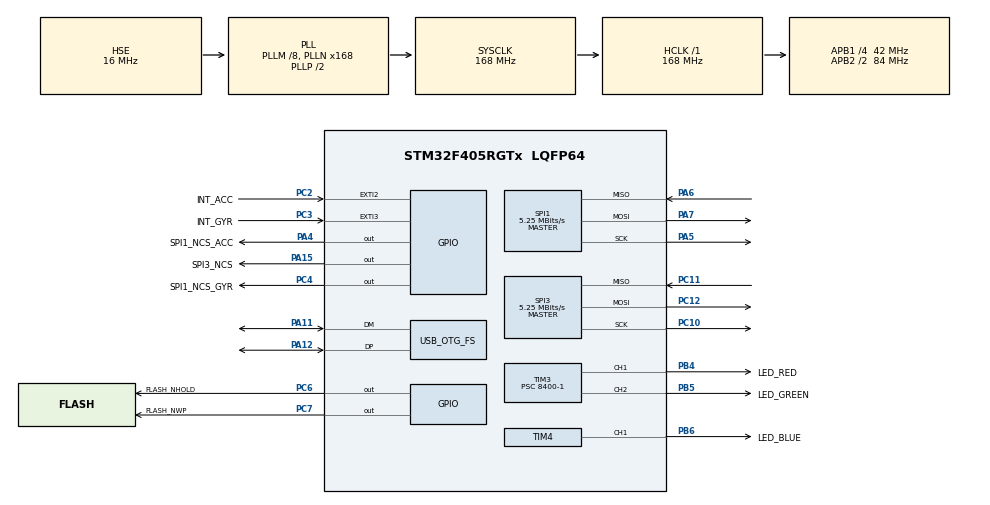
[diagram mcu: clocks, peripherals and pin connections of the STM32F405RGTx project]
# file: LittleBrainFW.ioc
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Dma.Request0=SPI1_RX
Dma.Request1=SPI1_TX
Dma.Request2=SPI3_RX
Dma.Request3=SPI3_TX
Dma.SPI1_RX.0.Direction=DMA_PERIPH_TO_MEMORY
Dma.SPI1_RX.0.FIFOMode=DMA_FIFOMODE_DISABLE
Dma.SPI1_RX.0.Instance=DMA2_Stream0
Dma.SPI1_RX.0.MemDataAlignment=DMA_MDATAALIGN_BYTE
Dma.SPI1_RX.0.MemInc=DMA_MINC_ENABLE
Dma.SPI1_RX.0.Mode=DMA_NORMAL
Dma.SPI1_RX.0.PeriphDataAlignment=DMA_PDATAALIGN_BYTE
Dma.SPI1_RX.0.PeriphInc=DMA_PINC_DISABLE
Dma.SPI1_RX.0.Priority=DMA_PRIORITY_HIGH
Dma.SPI1_TX.1.Direction=DMA_MEMORY_TO_PERIPH
Dma.SPI1_TX.1.FIFOMode=DMA_FIFOMODE_DISABLE
Dma.SPI1_TX.1.Instance=DMA2_Stream3
Dma.SPI1_TX.1.MemDataAlignment=DMA_MDATAALIGN_BYTE
Dma.SPI1_TX.1.MemInc=DMA_MINC_ENABLE
Dma.SPI1_TX.1.Mode=DMA_NORMAL
Dma.SPI1_TX.1.PeriphDataAlignment=DMA_PDATAALIGN_BYTE
Dma.SPI1_TX.1.PeriphInc=DMA_PINC_DISABLE
Dma.SPI1_TX.1.Priority=DMA_PRIORITY_HIGH
Dma.SPI3_RX.2.Direction=DMA_PERIPH_TO_MEMORY
Dma.SPI3_RX.2.FIFOMode=DMA_FIFOMODE_DISABLE
Dma.SPI3_RX.2.Instance=DMA1_Stream0
Dma.SPI3_RX.2.MemDataAlignment=DMA_MDATAALIGN_BYTE
Dma.SPI3_RX.2.MemInc=DMA_MINC_ENABLE
Dma.SPI3_RX.2.Mode=DMA_NORMAL
Dma.SPI3_RX.2.PeriphDataAlignment=DMA_PDATAALIGN_BYTE
Dma.SPI3_RX.2.PeriphInc=DMA_PINC_DISABLE
Dma.SPI3_RX.2.Priority=DMA_PRIORITY_MEDIUM
Dma.SPI3_TX.3.Direction=DMA_MEMORY_TO_PERIPH
Dma.SPI3_TX.3.FIFOMode=DMA_FIFOMODE_DISABLE
Dma.SPI3_TX.3.Instance=DMA1_Stream5
Dma.SPI3_TX.3.MemDataAlignment=DMA_MDATAALIGN_BYTE
Dma.SPI3_TX.3.MemInc=DMA_MINC_ENABLE
Dma.SPI3_TX.3.Mode=DMA_NORMAL
Dma.SPI3_TX.3.PeriphDataAlignment=DMA_PDATAALIGN_BYTE
Dma.SPI3_TX.3.PeriphInc=DMA_PINC_DISABLE
Dma.SPI3_TX.3.Priority=DMA_PRIORITY_MEDIUM
Mcu.Family=STM32F4
Mcu.Name=STM32F405RGTx
Mcu.Package=LQFP64
NVIC.DMA1_Stream0_IRQn=true\:0\:0\:false\:false\:true\:false\:true
NVIC.DMA1_Stream5_IRQn=true\:0\:0\:false\:false\:true\:false\:true
NVIC.DMA2_Stream0_IRQn=true\:0\:0\:false\:false\:true\:false\:true
NVIC.DMA2_Stream3_IRQn=true\:0\:0\:false\:false\:true\:false\:true
NVIC.EXTI2_IRQn=true\:0\:0\:false\:false\:true\:true\:true
NVIC.EXTI3_IRQn=true\:0\:0\:false\:false\:true\:true\:true
NVIC.OTG_FS_IRQn=true\:0\:0\:false\:false\:true\:false\:true
NVIC.PriorityGroup=NVIC_PRIORITYGROUP_4
NVIC.SPI1_IRQn=true\:0\:0\:false\:false\:true\:true\:true
PA11.Mode=Device_Only
PA11.Signal=USB_OTG_FS_DM
PA12.Mode=Device_Only
PA12.Signal=USB_OTG_FS_DP
PA13.Mode=Trace_Asynchronous_SW
PA13.Signal=SYS_JTMS-SWDIO
PA14.Mode=Trace_Asynchronous_SW
PA14.Signal=SYS_JTCK-SWCLK
PA15.GPIO_Label=SPI3_NCS
PA15.Signal=GPIO_Output
PA4.GPIO_Label=SPI1_NCS_ACC
PA4.Signal=GPIO_Output
PA5.Mode=Full_Duplex_Master
PA5.Signal=SPI1_SCK
PA6.Mode=Full_Duplex_Master
PA6.Signal=SPI1_MISO
PA7.Mode=Full_Duplex_Master
PA7.Signal=SPI1_MOSI
PB3.Mode=Trace_Asynchronous_SW
PB3.Signal=SYS_JTDO-SWO
PB4.GPIO_Label=LED_RED
PB4.Signal=S_TIM3_CH1
PB5.GPIO_Label=LED_GREEN
PB5.Signal=S_TIM3_CH2
PB6.GPIO_Label=LED_BLUE
PB6.Signal=S_TIM4_CH1
PC10.Mode=Full_Duplex_Master
PC10.Signal=SPI3_SCK
PC11.Mode=Full_Duplex_Master
PC11.Signal=SPI3_MISO
PC12.Mode=Full_Duplex_Master
PC12.Signal=SPI3_MOSI
PC2.GPIO_Label=INT_ACC
PC2.Signal=GPXTI2
PC3.GPIO_Label=INT_GYR
PC3.Signal=GPXTI3
PC4.GPIO_Label=SPI1_NCS_GYR
PC4.Signal=GPIO_Output
PC6.GPIO_Label=FLASH_NHOLD
PC6.Signal=GPIO_Output
PC7.GPIO_Label=FLASH_NWP
PC7.Signal=GPIO_Output
PH0-OSC_IN.Mode=HSE-External-Oscillator
PH0-OSC_IN.Signal=RCC_OSC_IN
PH1-OSC_OUT.Mode=HSE-External-Oscillator
PH1-OSC_OUT.Signal=RCC_OSC_OUT
ProjectManager.HeapSize=0x200
ProjectManager.StackSize=0x400
ProjectManager.TargetToolchain=STM32CubeIDE
RCC.48MHZClocksFreq_Value=48000000
RCC.AHBFreq_Value=168000000
RCC.APB1CLKDivider=RCC_HCLK_DIV4
RCC.APB1Freq_Value=42000000
RCC.APB1TimFreq_Value=84000000
RCC.APB2CLKDivider=RCC_HCLK_DIV2
RCC.APB2Freq_Value=84000000
RCC.APB2TimFreq_Value=168000000
RCC.CortexFreq_Value=168000000
RCC.HCLKFreq_Value=168000000
RCC.HSE_VALUE=16000000
RCC.HSI_VALUE=16000000
RCC.LSE_VALUE=32768
RCC.PLLM=8
RCC.PLLN=168
RCC.PLLQ=7
RCC.SYSCLKFreq_VALUE=168000000
RCC.SYSCLKSource=RCC_SYSCLKSOURCE_PLLCLK
RCC.VCOOutputFreq_Value=336000000
SH.S_TIM3_CH1.0=TIM3_CH1,PWM Generation1 CH1
SH.S_TIM3_CH2.0=TIM3_CH2,PWM Generation2 CH2
SH.S_TIM4_CH1.0=TIM4_CH1,PWM Generation1 CH1
SPI1.BaudRatePrescaler=SPI_BAUDRATEPRESCALER_16
SPI1.CalculateBaudRate=5.25 MBits/s
SPI1.Direction=SPI_DIRECTION_2LINES
SPI1.Mode=SPI_MODE_MASTER
SPI1.VirtualType=VM_MASTER
SPI3.BaudRatePrescaler=SPI_BAUDRATEPRESCALER_8
SPI3.CalculateBaudRate=5.25 MBits/s
SPI3.Direction=SPI_DIRECTION_2LINES
SPI3.Mode=SPI_MODE_MASTER
SPI3.VirtualType=VM_MASTER
TIM3.Channel-PWM\ Generation1\ CH1=TIM_CHANNEL_1
TIM3.Channel-PWM\ Generation2\ CH2=TIM_CHANNEL_2
TIM3.Period=100-1
TIM3.Prescaler=8400-1
TIM3.TIM_MasterOutputTrigger=TIM_TRGO_RESET
TIM4.Channel-PWM\ Generation1\ CH1=TIM_CHANNEL_1
TIM4.Period=100-1
TIM4.Prescaler=8400-1
USB_DEVICE.CLASS_NAME_FS=CDC
USB_DEVICE.VirtualMode-CDC_FS=Cdc
USB_DEVICE.VirtualModeFS=Cdc_FS
USB_OTG_FS.VirtualMode=Device_Only
VP_TIM3_VS_ClockSourceINT.Mode=Internal
VP_TIM4_VS_ClockSourceINT.Mode=Internal
VP_USB_DEVICE_VS_USB_DEVICE_CDC_FS.Mode=CDC_FS
board=custom

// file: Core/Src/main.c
/* USER CODE BEGIN Header */

/*
 *
 * Little Brain PCB Firmware
 *
 * Phil's Lab - youtube.com/c/phils94
 *
 */

/* USER CODE END Header */

#include "main.h"
#include "usb_device.h"

/* USER CODE BEGIN Includes */
#include "usbd_cdc_if.h"
#include <math.h>

#include "BMI088.h"
#include "SPL06.h"

#include "FIRFilter.h"
#include "RCFilter.h"

//#include "EKF.h"
/* USER CODE END Includes */

#define SAMPLE_TIME_MS_USB  20
#define SAMPLE_TIME_MS_BAR  125
#define SAMPLE_TIME_MS_LED  250
#define SAMPLE_TIME_MS_ATT   10

#define COMP_FILT_ALPHA 0.1f
#define RAD_TO_DEG 		57.2957795131f

SPI_HandleTypeDef hspi1;
SPI_HandleTypeDef hspi3;
DMA_HandleTypeDef hdma_spi1_rx;
DMA_HandleTypeDef hdma_spi1_tx;
DMA_HandleTypeDef hdma_spi3_rx;
DMA_HandleTypeDef hdma_spi3_tx;

TIM_HandleTypeDef htim3;
TIM_HandleTypeDef htim4;

/* USER CODE BEGIN PV */
BMI088 imu;
SPL06  bar;

RCFilter lpfAcc[3];
RCFilter lpfGyr[3];

FIRFilter barFilterMovingAverage;

float rollEstimate_rad;
float pitchEstimate_rad;

//EKF ekf;
/* USER CODE END PV */

void SystemClock_Config(void);
static void MX_GPIO_Init(void);
static void MX_DMA_Init(void);
static void MX_SPI1_Init(void);
static void MX_SPI3_Init(void);
static void MX_TIM3_Init(void);
static void MX_TIM4_Init(void);

/* USER CODE BEGIN 0 */
void HAL_SPI_TxRxCpltCallback(SPI_HandleTypeDef *hspi) {

	if (hspi->Instance == SPI1) {

		if (imu.readingAcc) {

			BMI088_ReadAccelerometerDMA_Complete(&imu);

			/* Filter accelerometer data */
		//	RCFilter_Update(&lpfAcc[0], imu.acc_mps2[0]);
		//	RCFilter_Update(&lpfAcc[1], imu.acc_mps2[1]);
		//	RCFilter_Update(&lpfAcc[2], imu.acc_mps2[2]);

		}

		if (imu.readingGyr) {

			BMI088_ReadGyroscopeDMA_Complete(&imu);

			/* Filter gyroscope data */
		//	RCFilter_Update(&lpfGyr[0], imu.gyr_rps[0]);
		//	RCFilter_Update(&lpfGyr[1], imu.gyr_rps[1]);
		//	RCFilter_Update(&lpfGyr[2], imu.gyr_rps[2]);

		}

	} else if (hspi->Instance == SPI3) {

		if (bar.reading) {

			SPL06_ReadDMA_Complete(&bar);

			/* Filter barometer readings using 10-point moving average filter */
			FIRFilter_Update(&barFilterMovingAverage, bar.pressure_Pa);

		}

	}

}

void HAL_GPIO_EXTI_Callback(uint16_t GPIO_Pin) {

	if (GPIO_Pin == INT_ACC_Pin) {

		BMI088_ReadAccelerometerDMA(&imu);

	} else if (GPIO_Pin == INT_GYR_Pin) {

		BMI088_ReadGyroscopeDMA(&imu);

	}

}

void LED_RGB_Init() {

	/* Start RGB LED PWM timers */
	HAL_TIM_PWM_Start(&htim3, TIM_CHANNEL_1);
	HAL_TIM_PWM_Start(&htim3, TIM_CHANNEL_2);
	HAL_TIM_PWM_Start(&htim4, TIM_CHANNEL_1);

}

void LED_RGB_SetIntensity(uint8_t red, uint8_t green, uint8_t blue) {

	htim3.Instance->CCR1 = 100 - red;
	htim3.Instance->CCR2 = 100 - green;
	htim4.Instance->CCR1 = 100 - blue;

}
/* USER CODE END 0 */

int main(void)
{

  /* MCU Configuration--------------------------------------------------------*/

  /* Reset of all peripherals, Initializes the Flash interface and the Systick. */
  HAL_Init();

  /* Configure the system clock */
  SystemClock_Config();

  /* Initialize all configured peripherals */
  MX_GPIO_Init();
  MX_DMA_Init();
  MX_SPI1_Init();
  MX_SPI3_Init();
  MX_TIM3_Init();
  MX_TIM4_Init();
  MX_USB_DEVICE_Init();
  /* USER CODE BEGIN 2 */

  /* Initialise RGB LED */
  LED_RGB_Init();
  LED_RGB_SetIntensity(0, 0, 0);

  /* Initialise inertial measurement unit */
  BMI088_Init(&imu, &hspi1, GPIOA, SPI1_NCS_ACC_Pin, GPIOC, SPI1_NCS_GYR_Pin);

  /* Initialise barometric pressure sensor */
  SPL06_Init(&bar, &hspi3, GPIOA, SPI3_NCS_Pin);

  /* Initialise moving average filter for barometer */
  FIRFilter_Init(&barFilterMovingAverage);

  /* Initialise low-pass filters */
  for (uint8_t n = 0; n < 3; n++) {

	  RCFilter_Init(&lpfAcc[n], 5.0f, 0.01f);

	  RCFilter_Init(&lpfGyr[n], 25.0f, 0.01f);

  }

  /* Timers */
  uint32_t timerBAR = 0;
  uint32_t timerUSB = 0;
  uint32_t timerLED	= 0;
  uint32_t timerATT = 0;

  /* LED colour state */
  uint8_t ledState = 0;

  /* Roll and pitch estimates */
  rollEstimate_rad  = 0.0f;
  pitchEstimate_rad = 0.0f;

  /* USB data buffer */
  char logBuf[128];
  /* USER CODE END 2 */

  /* Infinite loop */
  /* USER CODE BEGIN WHILE */
  float rollAcc_rad  = 0.0f;
  float pitchAcc_rad = 0.0f;

  float rollGyr_rad = 0.0f;
  float pitchGyr_rad = 0.0f;

  while (1)
  {
    /* USER CODE END WHILE */

	  /* Log data via USB */
	  if ((HAL_GetTick() - timerUSB) >= SAMPLE_TIME_MS_USB) {

		  /* Print via USB */
		 // sprintf(logBuf, "%.1f,%.1f,%.1f,%.1f,%.1f,%.1f\r\n", rollEstimate_rad * RAD_TO_DEG, pitchEstimate_rad * RAD_TO_DEG,
		//		  	  	  	  	  	  	 	 	 	 rollAcc_rad * RAD_TO_DEG, pitchAcc_rad * RAD_TO_DEG,
		//											 rollGyr_rad * RAD_TO_DEG, pitchGyr_rad * RAD_TO_DEG);

		  sprintf(logBuf, "%.3f,%.3f,%.3f,%.3f,%.3f,%.3f\r\n", imu.acc_mps2[0], imu.acc_mps2[1], imu.acc_mps2[2],
				  	  	  	  	  	  	  	  	  	  	  	   imu.gyr_rps[0], imu.gyr_rps[1], imu.gyr_rps[2]);

		  CDC_Transmit_FS((uint8_t *) logBuf, strlen(logBuf));

		  timerUSB = HAL_GetTick();

	  }

	  /* Read pressure sensor */
	  if ((HAL_GetTick() - timerBAR) >= SAMPLE_TIME_MS_BAR) {

		  SPL06_ReadDMA(&bar);

		  timerBAR = HAL_GetTick();

	  }

	  /* Toggle LED */
	  if ((HAL_GetTick() - timerLED) >= SAMPLE_TIME_MS_LED) {

		  switch(ledState) {

			  case 0:
				  LED_RGB_SetIntensity(100, 0, 0);
				  break;

			  case 1:
				  LED_RGB_SetIntensity(0, 75, 0);
				  break;

			  case 2:
				  LED_RGB_SetIntensity(0, 0, 100);
				  break;

		  }

		  ledState++;

		  if (ledState > 2) {

			  ledState = 0;

		  }

		  timerLED = HAL_GetTick();

	  }

  }
}

void SystemClock_Config(void)
{
  RCC_OscInitTypeDef RCC_OscInitStruct = {0};
  RCC_ClkInitTypeDef RCC_ClkInitStruct = {0};

  /** Configure the main internal regulator output voltage
  */
  __HAL_RCC_PWR_CLK_ENABLE();
  __HAL_PWR_VOLTAGESCALING_CONFIG(PWR_REGULATOR_VOLTAGE_SCALE1);
  /** Initializes the CPU, AHB and APB busses clocks
  */
  RCC_OscInitStruct.OscillatorType = RCC_OSCILLATORTYPE_HSE;
  RCC_OscInitStruct.HSEState = RCC_HSE_ON;
  RCC_OscInitStruct.PLL.PLLState = RCC_PLL_ON;
  RCC_OscInitStruct.PLL.PLLSource = RCC_PLLSOURCE_HSE;
  RCC_OscInitStruct.PLL.PLLM = 8;
  RCC_OscInitStruct.PLL.PLLN = 168;
  RCC_OscInitStruct.PLL.PLLP = RCC_PLLP_DIV2;
  RCC_OscInitStruct.PLL.PLLQ = 7;
  if (HAL_RCC_OscConfig(&RCC_OscInitStruct) != HAL_OK)
  {
    Error_Handler();
  }
  /** Initializes the CPU, AHB and APB busses clocks
  */
  RCC_ClkInitStruct.ClockType = RCC_CLOCKTYPE_HCLK|RCC_CLOCKTYPE_SYSCLK
                              |RCC_CLOCKTYPE_PCLK1|RCC_CLOCKTYPE_PCLK2;
  RCC_ClkInitStruct.SYSCLKSource = RCC_SYSCLKSOURCE_PLLCLK;
  RCC_ClkInitStruct.AHBCLKDivider = RCC_SYSCLK_DIV1;
  RCC_ClkInitStruct.APB1CLKDivider = RCC_HCLK_DIV4;
  RCC_ClkInitStruct.APB2CLKDivider = RCC_HCLK_DIV2;

  if (HAL_RCC_ClockConfig(&RCC_ClkInitStruct, FLASH_LATENCY_5) != HAL_OK)
  {
    Error_Handler();
  }
}

static void MX_SPI1_Init(void)
{

  /* SPI1 parameter configuration*/
  hspi1.Instance = SPI1;
  hspi1.Init.Mode = SPI_MODE_MASTER;
  hspi1.Init.Direction = SPI_DIRECTION_2LINES;
  hspi1.Init.DataSize = SPI_DATASIZE_8BIT;
  hspi1.Init.CLKPolarity = SPI_POLARITY_LOW;
  hspi1.Init.CLKPhase = SPI_PHASE_1EDGE;
  hspi1.Init.NSS = SPI_NSS_SOFT;
  hspi1.Init.BaudRatePrescaler = SPI_BAUDRATEPRESCALER_16;
  hspi1.Init.FirstBit = SPI_FIRSTBIT_MSB;
  hspi1.Init.TIMode = SPI_TIMODE_DISABLE;
  hspi1.Init.CRCCalculation = SPI_CRCCALCULATION_DISABLE;
  hspi1.Init.CRCPolynomial = 10;
  if (HAL_SPI_Init(&hspi1) != HAL_OK)
  {
    Error_Handler();
  }

}

static void MX_SPI3_Init(void)
{

  /* SPI3 parameter configuration*/
  hspi3.Instance = SPI3;
  hspi3.Init.Mode = SPI_MODE_MASTER;
  hspi3.Init.Direction = SPI_DIRECTION_2LINES;
  hspi3.Init.DataSize = SPI_DATASIZE_8BIT;
  hspi3.Init.CLKPolarity = SPI_POLARITY_LOW;
  hspi3.Init.CLKPhase = SPI_PHASE_1EDGE;
  hspi3.Init.NSS = SPI_NSS_SOFT;
  hspi3.Init.BaudRatePrescaler = SPI_BAUDRATEPRESCALER_8;
  hspi3.Init.FirstBit = SPI_FIRSTBIT_MSB;
  hspi3.Init.TIMode = SPI_TIMODE_DISABLE;
  hspi3.Init.CRCCalculation = SPI_CRCCALCULATION_DISABLE;
  hspi3.Init.CRCPolynomial = 10;
  if (HAL_SPI_Init(&hspi3) != HAL_OK)
  {
    Error_Handler();
  }

}

static void MX_TIM3_Init(void)
{

  TIM_ClockConfigTypeDef sClockSourceConfig = {0};
  TIM_MasterConfigTypeDef sMasterConfig = {0};
  TIM_OC_InitTypeDef sConfigOC = {0};

  htim3.Instance = TIM3;
  htim3.Init.Prescaler = 8400-1;
  htim3.Init.CounterMode = TIM_COUNTERMODE_UP;
  htim3.Init.Period = 100-1;
  htim3.Init.ClockDivision = TIM_CLOCKDIVISION_DIV1;
  htim3.Init.AutoReloadPreload = TIM_AUTORELOAD_PRELOAD_DISABLE;
  if (HAL_TIM_Base_Init(&htim3) != HAL_OK)
  {
    Error_Handler();
  }
  sClockSourceConfig.ClockSource = TIM_CLOCKSOURCE_INTERNAL;
  if (HAL_TIM_ConfigClockSource(&htim3, &sClockSourceConfig) != HAL_OK)
  {
    Error_Handler();
  }
  if (HAL_TIM_PWM_Init(&htim3) != HAL_OK)
  {
    Error_Handler();
  }
  sMasterConfig.MasterOutputTrigger = TIM_TRGO_RESET;
  sMasterConfig.MasterSlaveMode = TIM_MASTERSLAVEMODE_DISABLE;
  if (HAL_TIMEx_MasterConfigSynchronization(&htim3, &sMasterConfig) != HAL_OK)
  {
    Error_Handler();
  }
  sConfigOC.OCMode = TIM_OCMODE_PWM1;
  sConfigOC.Pulse = 0;
  sConfigOC.OCPolarity = TIM_OCPOLARITY_HIGH;
  sConfigOC.OCFastMode = TIM_OCFAST_DISABLE;
  if (HAL_TIM_PWM_ConfigChannel(&htim3, &sConfigOC, TIM_CHANNEL_1) != HAL_OK)
  {
    Error_Handler();
  }
  if (HAL_TIM_PWM_ConfigChannel(&htim3, &sConfigOC, TIM_CHANNEL_2) != HAL_OK)
  {
    Error_Handler();
  }
  HAL_TIM_MspPostInit(&htim3);

}

static void MX_TIM4_Init(void)
{

  TIM_ClockConfigTypeDef sClockSourceConfig = {0};
  TIM_MasterConfigTypeDef sMasterConfig = {0};
  TIM_OC_InitTypeDef sConfigOC = {0};

  htim4.Instance = TIM4;
  htim4.Init.Prescaler = 8400-1;
  htim4.Init.CounterMode = TIM_COUNTERMODE_UP;
  htim4.Init.Period = 100-1;
  htim4.Init.ClockDivision = TIM_CLOCKDIVISION_DIV1;
  htim4.Init.AutoReloadPreload = TIM_AUTORELOAD_PRELOAD_DISABLE;
  if (HAL_TIM_Base_Init(&htim4) != HAL_OK)
  {
    Error_Handler();
  }
  sClockSourceConfig.ClockSource = TIM_CLOCKSOURCE_INTERNAL;
  if (HAL_TIM_ConfigClockSource(&htim4, &sClockSourceConfig) != HAL_OK)
  {
    Error_Handler();
  }
  if (HAL_TIM_PWM_Init(&htim4) != HAL_OK)
  {
    Error_Handler();
  }
  sMasterConfig.MasterOutputTrigger = TIM_TRGO_RESET;
  sMasterConfig.MasterSlaveMode = TIM_MASTERSLAVEMODE_DISABLE;
  if (HAL_TIMEx_MasterConfigSynchronization(&htim4, &sMasterConfig) != HAL_OK)
  {
    Error_Handler();
  }
  sConfigOC.OCMode = TIM_OCMODE_PWM1;
  sConfigOC.Pulse = 0;
  sConfigOC.OCPolarity = TIM_OCPOLARITY_HIGH;
  sConfigOC.OCFastMode = TIM_OCFAST_DISABLE;
  if (HAL_TIM_PWM_ConfigChannel(&htim4, &sConfigOC, TIM_CHANNEL_1) != HAL_OK)
  {
    Error_Handler();
  }
  HAL_TIM_MspPostInit(&htim4);

}

static void MX_DMA_Init(void)
{

  /* DMA controller clock enable */
  __HAL_RCC_DMA2_CLK_ENABLE();
  __HAL_RCC_DMA1_CLK_ENABLE();

  /* DMA interrupt init */
  /* DMA1_Stream0_IRQn interrupt configuration */
  HAL_NVIC_SetPriority(DMA1_Stream0_IRQn, 0, 0);
  HAL_NVIC_EnableIRQ(DMA1_Stream0_IRQn);
  /* DMA1_Stream5_IRQn interrupt configuration */
  HAL_NVIC_SetPriority(DMA1_Stream5_IRQn, 0, 0);
  HAL_NVIC_EnableIRQ(DMA1_Stream5_IRQn);
  /* DMA2_Stream0_IRQn interrupt configuration */
  HAL_NVIC_SetPriority(DMA2_Stream0_IRQn, 0, 0);
  HAL_NVIC_EnableIRQ(DMA2_Stream0_IRQn);
  /* DMA2_Stream3_IRQn interrupt configuration */
  HAL_NVIC_SetPriority(DMA2_Stream3_IRQn, 0, 0);
  HAL_NVIC_EnableIRQ(DMA2_Stream3_IRQn);

}

static void MX_GPIO_Init(void)
{
  GPIO_InitTypeDef GPIO_InitStruct = {0};

  /* GPIO Ports Clock Enable */
  __HAL_RCC_GPIOH_CLK_ENABLE();
  __HAL_RCC_GPIOC_CLK_ENABLE();
  __HAL_RCC_GPIOA_CLK_ENABLE();
  __HAL_RCC_GPIOB_CLK_ENABLE();

  /*Configure GPIO pin Output Level */
  HAL_GPIO_WritePin(GPIOA, SPI1_NCS_ACC_Pin|SPI3_NCS_Pin, GPIO_PIN_RESET);

  /*Configure GPIO pin Output Level */
  HAL_GPIO_WritePin(GPIOC, SPI1_NCS_GYR_Pin|FLASH_NHOLD_Pin|FLASH_NWP_Pin, GPIO_PIN_RESET);

  /*Configure GPIO pins : INT_ACC_Pin INT_GYR_Pin */
  GPIO_InitStruct.Pin = INT_ACC_Pin|INT_GYR_Pin;
  GPIO_InitStruct.Mode = GPIO_MODE_IT_RISING;
  GPIO_InitStruct.Pull = GPIO_NOPULL;
  HAL_GPIO_Init(GPIOC, &GPIO_InitStruct);

  /*Configure GPIO pins : SPI1_NCS_ACC_Pin SPI3_NCS_Pin */
  GPIO_InitStruct.Pin = SPI1_NCS_ACC_Pin|SPI3_NCS_Pin;
  GPIO_InitStruct.Mode = GPIO_MODE_OUTPUT_PP;
  GPIO_InitStruct.Pull = GPIO_NOPULL;
  GPIO_InitStruct.Speed = GPIO_SPEED_FREQ_LOW;
  HAL_GPIO_Init(GPIOA, &GPIO_InitStruct);

  /*Configure GPIO pins : SPI1_NCS_GYR_Pin FLASH_NHOLD_Pin FLASH_NWP_Pin */
  GPIO_InitStruct.Pin = SPI1_NCS_GYR_Pin|FLASH_NHOLD_Pin|FLASH_NWP_Pin;
  GPIO_InitStruct.Mode = GPIO_MODE_OUTPUT_PP;
  GPIO_InitStruct.Pull = GPIO_NOPULL;
  GPIO_InitStruct.Speed = GPIO_SPEED_FREQ_LOW;
  HAL_GPIO_Init(GPIOC, &GPIO_InitStruct);

  /* EXTI interrupt init*/
  HAL_NVIC_SetPriority(EXTI2_IRQn, 0, 0);
  HAL_NVIC_EnableIRQ(EXTI2_IRQn);

  HAL_NVIC_SetPriority(EXTI3_IRQn, 0, 0);
  HAL_NVIC_EnableIRQ(EXTI3_IRQn);

}

void Error_Handler(void)
{
}

/************************ (C) COPYRIGHT STMicroelectronics *****END OF FILE****/
